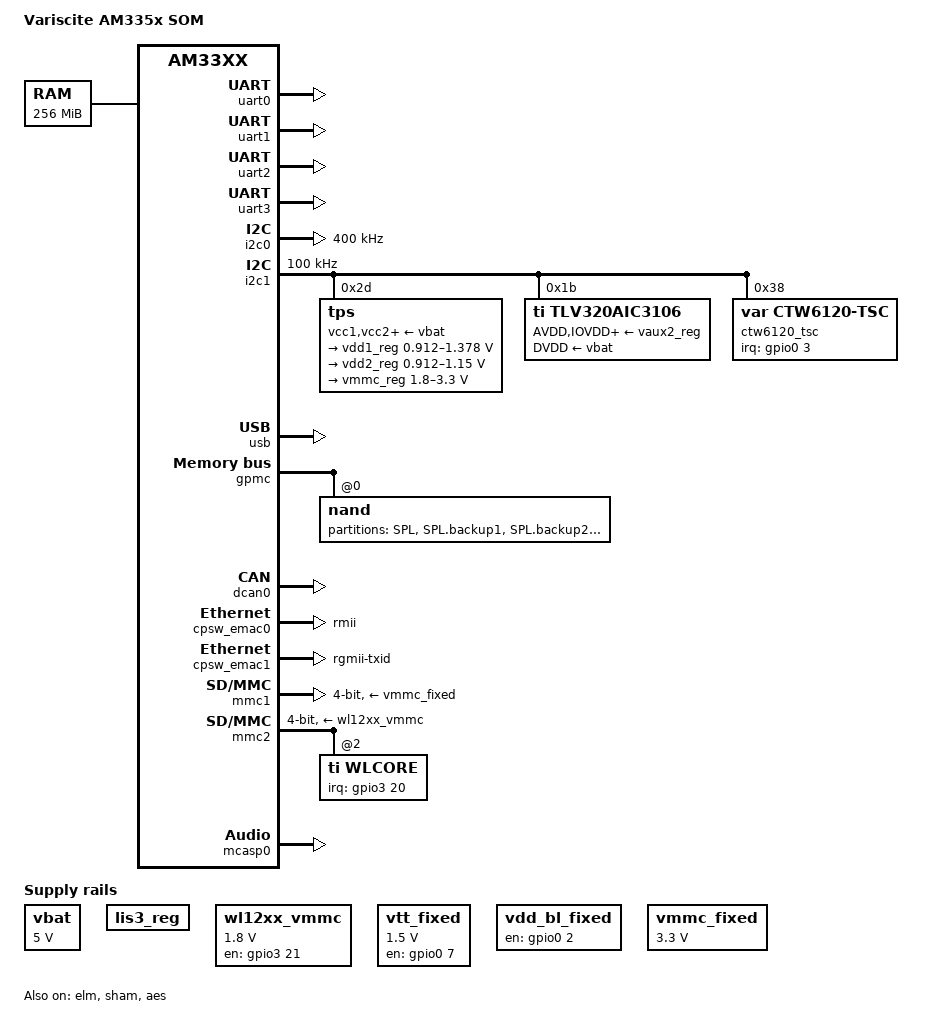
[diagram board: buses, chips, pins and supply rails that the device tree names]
/*
 * Copyright (C) 2014 Variscite LTD - http://www.variscite.com/
 *
 * This program is free software; you can redistribute it and/or modify
 * it under the terms of the GNU General Public License version 2 as
 * published by the Free Software Foundation.
 */
/dts-v1/;

#include "am33xx.dtsi"
#include <dt-bindings/pwm/pwm.h>
#include <dt-bindings/interrupt-controller/irq.h>

/ {
	model = "Variscite AM335x SOM";
	compatible = "ti,var-som-am33", "ti,am33xx";

	cpus {
		cpu@0 {
			cpu0-supply = <&vdd1_reg>;
		};
	};

	memory {
		device_type = "memory";
		reg = <0x80000000 0x10000000>; /* 256 MB */
	};

	vbat: fixedregulator@0 {
		compatible = "regulator-fixed";
		regulator-name = "vbat";
		regulator-min-microvolt = <5000000>;
		regulator-max-microvolt = <5000000>;
		regulator-boot-on;
	};

	lis3_reg: fixedregulator@1 {
		compatible = "regulator-fixed";
		regulator-name = "lis3_reg";
		regulator-boot-on;
	};

	wl12xx_vmmc: fixedregulator@2 {
		compatible = "regulator-fixed";
		regulator-name = "wlan-en-regulator";
		regulator-min-microvolt = <1800000>;
		regulator-max-microvolt = <1800000>;
		/* WLAN_EN GPIO for this board - Bank3, pin21 */
		gpio = <&gpio3 21 0>;

		/* WLAN card specific delay */
		startup-delay-us = <70000>;
		enable-active-high;
	};

	vtt_fixed: fixedregulator@3 {
		compatible = "regulator-fixed";
		regulator-name = "vtt";
		regulator-min-microvolt = <1500000>;
		regulator-max-microvolt = <1500000>;
		gpio = <&gpio0 7 GPIO_ACTIVE_HIGH>;
		regulator-always-on;
		regulator-boot-on;
		enable-active-high;
	};

	vdd_bl_fixed: fixedregulator@4 {	
		compatible = "regulator-fixed";
		regulator-name = "vdd_bl";
		//regulator-min-microvolt = <1500000>;
		//regulator-max-microvolt = <1500000>;
		gpio = <&gpio0 2 GPIO_ACTIVE_HIGH>;
		regulator-always-on;
		regulator-boot-on;
		enable-active-high;
	};

	vmmc_fixed: fixedregulator@5 {
		compatible = "regulator-fixed";
		regulator-name = "vmmc_fixed";
		regulator-min-microvolt = <3300000>;
		regulator-max-microvolt = <3300000>;
		regulator-always-on;
		regulator-boot-on;
	};


	gpio_buttons: gpio_keys@0 {
		compatible = "gpio-keys";
		#address-cells = <1>;
		#size-cells = <0>;

	};

	sound {
		compatible = "ti,da830-evm-audio";
		ti,model = "AM335x-EVM";
		ti,audio-codec = <&tlv320aic3106>;
		ti,mcasp-controller = <&mcasp0>;
		ti,codec-clock-rate = <24000000>;
		ti,audio-routing =
			"Headphone Jack",       "HPLOUT",
			"Headphone Jack",       "HPROUT",
			"LINE1L",               "Line In",
			"LINE1R",               "Line In";
	};	

	wlcore {
		compatible = "wlcore";
		gpio = <116>; /* Bank3, pin20 */
		pinctrl-names = "default";
	};

	kim {
		compatible = "kim";
		nshutdown_gpio = <105>; /* Bank3, pin21 */
		dev_name = "/dev/ttyO1";
		flow_cntrl = <1>;
		baud_rate = <3000000>;
	};

	btwilink {
		compatible = "btwilink";
	};

	ge_counter0 {
		compatible = "ginzinger,ge_counter";

		in1 {
				label = "in1";
				gpios = <&gpio1 20 GPIO_ACTIVE_HIGH>;
				irq-type = <IRQ_TYPE_EDGE_RISING>;
				interval = <0>; //ms
		};

		in2 {
				label = "in2";
				gpios = <&gpio1 18 GPIO_ACTIVE_HIGH>;
				irq-type = <IRQ_TYPE_EDGE_RISING>;
				interval = <0>; //ms
		};

		in3 {
				label = "in3";
				gpios = <&gpio1 16 GPIO_ACTIVE_HIGH>;
				irq-type = <IRQ_TYPE_EDGE_RISING>;
				interval = <0>; //ms
		};

		in4 {
				label = "in4";
				gpios = <&gpio1 22 GPIO_ACTIVE_HIGH>;
				irq-type = <IRQ_TYPE_EDGE_RISING>;
				interval = <0>; //ms
		};

		in5 {
				label = "in5";
				gpios = <&gpio1 24 GPIO_ACTIVE_HIGH>;
				irq-type = <IRQ_TYPE_EDGE_RISING>;
				interval = <0>; //ms
		};

		in6 {
				label = "in6";
				gpios = <&gpio1 26 GPIO_ACTIVE_HIGH>;
				irq-type = <IRQ_TYPE_EDGE_RISING>;
				interval = <0>; //ms
		};

		in7 {
				label = "in7";
				gpios = <&gpio1 23 GPIO_ACTIVE_HIGH>;
				irq-type = <IRQ_TYPE_EDGE_RISING>;
				interval = <0>; //ms
		};

		in8 {
				label = "in8";
				gpios = <&gpio1 21 GPIO_ACTIVE_HIGH>;
				irq-type = <IRQ_TYPE_EDGE_RISING>;
				interval = <0>; //ms
		};
	};
					

};

&am33xx_pinmux {
	pinctrl-names = "default";
	pinctrl-0 = <&clkout1_pin &gpio_keys_s0>;

	i2c0_pins: pinmux_i2c0_pins {
		pinctrl-single,pins = <
			0x188 (PIN_INPUT_PULLUP | MUX_MODE0)	/* i2c0_sda.i2c0_sda */
			0x18c (PIN_INPUT_PULLUP | MUX_MODE0)	/* i2c0_scl.i2c0_scl */
		>;
	};

	i2c1_pins: pinmux_i2c1_pins {
		pinctrl-single,pins = <
			0x158 (PIN_INPUT_PULLUP | MUX_MODE2)	/* spi0_d1.i2c1_sda */
			0x15c (PIN_INPUT_PULLUP | MUX_MODE2)	/* spi0_cs0.i2c1_scl */
		>;
	};

	uart0_pins: pinmux_uart0_pins {
		pinctrl-single,pins = <
			0x170 (PIN_INPUT_PULLUP | MUX_MODE0)	/* uart0_rxd.uart0_rxd */
			0x174 (PIN_OUTPUT_PULLDOWN | MUX_MODE0)		/* uart0_txd.uart0_txd */
		>;
	};

	uart1_pins_default: pinmux_uart1_pins_default {
		pinctrl-single,pins = <
/*			0x178 (PIN_INPUT | MUX_MODE0)			/* uart1_ctsn.uart1_ctsn */
	/*		0x17C (PIN_OUTPUT_PULLDOWN | MUX_MODE0)	/* uart1_rtsn.uart1_rtsn */
			0x180 (PIN_INPUT_PULLUP | MUX_MODE0)	/* uart1_rxd.uart1_rxd */
			0x184 (PIN_OUTPUT | MUX_MODE0)			/* uart1_txd.uart1_txd */
		>;
	};

	uart1_pins_sleep: pinmux_uart1_pins_sleep {
		pinctrl-single,pins = <
/*			0x178 (PIN_INPUT_PULLDOWN | MUX_MODE7)*/
			0x17C (PIN_INPUT_PULLDOWN | MUX_MODE7)
			0x180 (PIN_INPUT_PULLDOWN | MUX_MODE7)
			0x184 (PIN_INPUT_PULLDOWN | MUX_MODE7)
		>;
	};


	rs485_pins_default: rs485_pins_default {
		pinctrl-single,pins = <
				0x160 (PIN_INPUT_PULLUP | MUX_MODE1) /* (C15) spi0_cs1.uart3_rxd */
				0x164 (PIN_OUTPUT | MUX_MODE1) /* (C18) eCAP0_in_PWM0_out.uart3_txd */
			>;
		};

		clkout1_pin: pinmux_clkout1_pin {
			pinctrl-single,pins = <
				0x1b0 (PIN_OUTPUT_PULLDOWN | MUX_MODE3)	/* xdma_event_intr0.clkout1 */
			>;
		};

		nandflash_pins_default: pinmux_nandflash_pins_default {
			pinctrl-single,pins = <
				0x0 (PIN_INPUT_PULLUP | MUX_MODE0)	/* gpmc_ad0.gpmc_ad0 */
				0x4 (PIN_INPUT_PULLUP | MUX_MODE0)	/* gpmc_ad1.gpmc_ad1 */
				0x8 (PIN_INPUT_PULLUP | MUX_MODE0)	/* gpmc_ad2.gpmc_ad2 */
				0xc (PIN_INPUT_PULLUP | MUX_MODE0)	/* gpmc_ad3.gpmc_ad3 */
				0x10 (PIN_INPUT_PULLUP | MUX_MODE0)	/* gpmc_ad4.gpmc_ad4 */
				0x14 (PIN_INPUT_PULLUP | MUX_MODE0)	/* gpmc_ad5.gpmc_ad5 */
				0x18 (PIN_INPUT_PULLUP | MUX_MODE0)	/* gpmc_ad6.gpmc_ad6 */
				0x1c (PIN_INPUT_PULLUP | MUX_MODE0)	/* gpmc_ad7.gpmc_ad7 */
				0x70 (PIN_INPUT_PULLUP | MUX_MODE0)	/* gpmc_wait0.gpmc_wait0 */
				0x74 (PIN_INPUT_PULLUP | MUX_MODE7)	/* gpmc_wpn.gpio0_30 */
				0x7c (PIN_OUTPUT | MUX_MODE0)		/* gpmc_csn0.gpmc_csn0  */
				0x90 (PIN_OUTPUT | MUX_MODE0)		/* gpmc_advn_ale.gpmc_advn_ale */
				0x94 (PIN_OUTPUT | MUX_MODE0)		/* gpmc_oen_ren.gpmc_oen_ren */
				0x98 (PIN_OUTPUT | MUX_MODE0)		/* gpmc_wen.gpmc_wen */
				0x9c (PIN_OUTPUT | MUX_MODE0)		/* gpmc_ben0_cle.gpmc_ben0_cle */
			>;
		};

		nandflash_pins_sleep: pinmux_nandflash_pins_sleep {
			pinctrl-single,pins = <
				0x0 (PIN_INPUT_PULLDOWN | MUX_MODE7)
				0x4 (PIN_INPUT_PULLDOWN | MUX_MODE7)
				0x8 (PIN_INPUT_PULLDOWN | MUX_MODE7)
				0xc (PIN_INPUT_PULLDOWN | MUX_MODE7)
				0x10 (PIN_INPUT_PULLDOWN | MUX_MODE7)
				0x14 (PIN_INPUT_PULLDOWN | MUX_MODE7)
				0x18 (PIN_INPUT_PULLDOWN | MUX_MODE7)
				0x1c (PIN_INPUT_PULLDOWN | MUX_MODE7)
				0x70 (PIN_INPUT_PULLDOWN | MUX_MODE7)
				0x74 (PIN_INPUT_PULLDOWN | MUX_MODE7)
				0x7c (PIN_INPUT_PULLDOWN | MUX_MODE7)
				0x90 (PIN_INPUT_PULLDOWN | MUX_MODE7)
				0x94 (PIN_INPUT_PULLDOWN | MUX_MODE7)
				0x98 (PIN_INPUT_PULLDOWN | MUX_MODE7)
				0x9c (PIN_INPUT_PULLDOWN | MUX_MODE7)
			>;
		};

		cpsw_default: cpsw_default {
			pinctrl-single,pins = <
				/* Slave 1 */
			0x10c (PIN_INPUT_PULLDOWN | MUX_MODE1)     /* mii1_crs.rmii1_crs_dv */
			0x110 (PIN_INPUT_PULLDOWN | MUX_MODE1)     /* mii1_rxerr.rmii1_rxerr */
			0x114 (PIN_OUTPUT | MUX_MODE1)             /* mii1_txen.rmii1_txen */
			0x124 (PIN_OUTPUT | MUX_MODE1)             /* mii1_txd1.rmii1_txd1 */
			0x128 (PIN_OUTPUT | MUX_MODE1)             /* mii1_txd0.rmii1_txd0 */
			0x13c (PIN_INPUT_PULLDOWN | MUX_MODE1)     /* mii1_rxd1.rmii1_rxd1 */
			0x140 (PIN_INPUT_PULLDOWN | MUX_MODE1)     /* mii1_rxd0.rmii1_rxd0 */
			0x144 (PIN_INPUT_PULLDOWN | MUX_MODE0)     /* rmii1_refclk.rmii1_refclk */
			0x138 (PIN_INPUT_PULLUP | MUX_MODE7)       /* mii1_rxd2.gpio2_19 */
			>;
		};

		cpsw_sleep: cpsw_sleep {
			pinctrl-single,pins = <
			/* Slave 1 reset value */
			0x10c (PIN_INPUT_PULLDOWN | MUX_MODE7)
			0x110 (PIN_INPUT_PULLDOWN | MUX_MODE7)
			0x114 (PIN_INPUT_PULLDOWN | MUX_MODE7)
			0x124 (PIN_INPUT_PULLDOWN | MUX_MODE7)
			0x128 (PIN_INPUT_PULLDOWN | MUX_MODE7)
			0x13c (PIN_INPUT_PULLDOWN | MUX_MODE7)
			0x140 (PIN_INPUT_PULLDOWN | MUX_MODE7)
			0x144 (PIN_INPUT_PULLDOWN | MUX_MODE7)
			0x138 (PIN_INPUT_PULLUP | MUX_MODE7)       /* mii1_rxd2.gpio2_19 */
			>;
		};

		davinci_mdio_default: davinci_mdio_default {
			pinctrl-single,pins = <
				/* MDIO */
				0x148 (PIN_INPUT_PULLUP | SLEWCTRL_FAST | MUX_MODE0)	/* mdio_data.mdio_data */
				0x14c (PIN_OUTPUT_PULLUP | MUX_MODE0)			/* mdio_clk.mdio_clk */
			>;
		};

		davinci_mdio_sleep: davinci_mdio_sleep {
			pinctrl-single,pins = <
				/* MDIO reset value */
				0x148 (PIN_INPUT_PULLDOWN | MUX_MODE7)
				0x14c (PIN_INPUT_PULLDOWN | MUX_MODE7)
			>;
		};

		mmc1_pins_default: pinmux_mmc1_pins {
			pinctrl-single,pins = <
				0x0F0 (PIN_INPUT_PULLUP | MUX_MODE0)	/* mmc0_dat3.mmc0_dat3 */
				0x0F4 (PIN_INPUT_PULLUP | MUX_MODE0)	/* mmc0_dat2.mmc0_dat2 */
				0x0F8 (PIN_INPUT_PULLUP | MUX_MODE0)	/* mmc0_dat1.mmc0_dat1 */
				0x0FC (PIN_INPUT_PULLUP | MUX_MODE0)	/* mmc0_dat0.mmc0_dat0 */
				0x100 (PIN_INPUT_PULLUP | MUX_MODE0)	/* mmc0_clk.mmc0_clk */
				0x104 (PIN_INPUT_PULLUP | MUX_MODE0)	/* mmc0_cmd.mmc0_cmd */
				0x78  (PIN_INPUT_PULLUP | MUX_MODE7)	/* gpmc_ben1.gpio1_28 */
			/*	0x134 (PIN_INPUT_PULLUP | MUX_MODE7)*/	/* mii1_rxd3.gpio2_18 */
			>;
		};

		mmc1_pins_sleep: pinmux_mmc1_pins_sleep {
			pinctrl-single,pins = <
				0x0F0 (PIN_INPUT_PULLDOWN | MUX_MODE7)
				0x0F4 (PIN_INPUT_PULLDOWN | MUX_MODE7)
				0x0F8 (PIN_INPUT_PULLDOWN | MUX_MODE7)
				0x0FC (PIN_INPUT_PULLDOWN | MUX_MODE7)
				0x100 (PIN_INPUT_PULLDOWN | MUX_MODE7)
				0x104 (PIN_INPUT_PULLDOWN | MUX_MODE7)
				0x78  (PIN_INPUT_PULLDOWN | MUX_MODE7)
			/*	0x134 (PIN_INPUT_PULLDOWN | MUX_MODE7)*/
			>;
		};

		/* wl12xx/wl18xx card enable/irq GPIOs. */
		wlan_pins_default: pinmux_wlan_pins {
			pinctrl-single,pins = <
				0x1AC 0x07	/* mcasp0_ahclkx.gpio3_21, OUTPUT | MODE7 */
				0x1A8 0x27	/* mcasp0_axr1.gpio3_20, INPUT | MODE7 */
				0x12C 0x17	/* mii1_txclk.gpio3_9, OUTPUT_PULLUP | MODE7 */
			>;
		};

		mcasp0_pins: mcasp0_pins {
			pinctrl-single,pins = <
				0x190 (PIN_INPUT_PULLDOWN | MUX_MODE0)  /* mcasp0_aclkx.mcasp0_aclkx */
				0x194 (PIN_INPUT_PULLDOWN | MUX_MODE0)  /* mcasp0_fsx.mcasp0_fsx */
				0x1A0 (PIN_INPUT_PULLDOWN | MUX_MODE2)  /* mcasp0_aclkr.mcasp0_axr2 */
				0x1A4 (PIN_INPUT_PULLDOWN | MUX_MODE2)  /* mcasp0_fsr.mcasp0_axr3 */
			>;
		};

		mcasp0_sleep_pins: mcasp0_sleep_pins {
			pinctrl-single,pins = <
				0x190 (PIN_INPUT_PULLDOWN | MUX_MODE7)
				0x194 (PIN_INPUT_PULLDOWN | MUX_MODE7)
				0x1A0 (PIN_INPUT_PULLDOWN | MUX_MODE7)
				0x1A4 (PIN_INPUT_PULLDOWN | MUX_MODE7)
			>;
		};
		/* wl12xx/wl18xx card on mmc1 */

		mmc2_pins_default: pinmux_mmc2_pins_default {
			pinctrl-single,pins = <
				0x20 (PIN_INPUT_PULLUP | MUX_MODE2)	/* gpmc_ad8.mmc1_dat0 */
				0x24 (PIN_INPUT_PULLUP | MUX_MODE2)	/* gpmc_ad9.mmc1_dat1 */
				0x28 (PIN_INPUT_PULLUP | MUX_MODE2)	/* gpmc_ad10.mmc1_dat2 */
				0x2c (PIN_INPUT_PULLUP | MUX_MODE2)	/* gpmc_ad11.mmc1_dat3 */
				0x84 (PIN_INPUT_PULLUP | MUX_MODE2)	/* gpmc_csn2.mmc1_cmd */
				0x80 (PIN_INPUT_PULLUP | MUX_MODE2)	/* gpmc_csn1.mmc1_clk */
			>;
		};
		
		mmc2_pins_sleep: pinmux_mmc2_pins_sleep {
			pinctrl-single,pins = <
				0x20 (PIN_INPUT_PULLUP | MUX_MODE7)	/* gpmc_ad8.mmc1_dat0 */
				0x24 (PIN_INPUT_PULLUP | MUX_MODE7)	/* gpmc_ad9.mmc1_dat1 */
				0x28 (PIN_INPUT_PULLUP | MUX_MODE7)	/* gpmc_ad10.mmc1_dat2 */
				0x2c (PIN_INPUT_PULLUP | MUX_MODE7)	/* gpmc_ad11.mmc1_dat3 */
				0x84 (PIN_INPUT_PULLUP | MUX_MODE7)	/* gpmc_csn2.mmc1_cmd */
				0x80 (PIN_INPUT_PULLUP | MUX_MODE7)	/* gpmc_csn1.mmc1_clk */
			>;
		};	

			/* wl12xx/wl18xx card enable/irq GPIOs. */
		wl12xx_gpio_default: pinmux_wl12xx_gpio_default {
			pinctrl-single,pins = <
				0x1AC 0x07	/* mcasp0_ahclkx.gpio3_21, OUTPUT | MODE7 */
				0x1A8 0x27	/* mcasp0_axr1.gpio3_20, INPUT | MODE7 */
				0x12C 0x17	/* mii1_txclk.gpio3_9, OUTPUT_PULLUP | MODE7 */
			>;
		};

		wl12xx_gpio_sleep: pinmux_wl12xx_gpio_sleep {
			pinctrl-single,pins = <
				0x1AC (PIN_INPUT_PULLDOWN | MUX_MODE7)	/* mcasp0_ahclkx.gpio3_21, OUTPUT | MODE7 */
				0x1A8 (PIN_INPUT_PULLDOWN | MUX_MODE7)	/* mcasp0_axr1.gpio3_20, INPUT | MODE7 */
				0x12C (PIN_INPUT_PULLDOWN | MUX_MODE7)	/* mii1_txclk.gpio3_9, OUTPUT_PULLUP | MODE7 */
			>;
		};
		
		/* ctw6120 irq GPIO. */
		ctw6120_pins: pinmux_ctw6120_pins {
			pinctrl-single,pins = <
				0x154 0x27	/* spi0_d0.gpio0_3, INPUT | MODE7 */
			>;
		};
		dcan0_default: dcan0_default_pins {
			pinctrl-single,pins = <
				/*0x11c (PIN_OUTPUT_PULLDOWN | MUX_MODE1)	 /* AM33XX_CONTROL_PADCONF_MII1_TXD3_OFFSET			0x091C */
				0x120 (PIN_INPUT_PULLUP | MUX_MODE1)      /* AM33XX_CONTROL_PADCONF_MII1_TXD2_OFFSET			0x0920 */
			>;
		};

		spi1_pins_default: pinmux_spi1_pins_default {
			pinctrl-single,pins = <
			/*	0x164 (PIN_INPUT | MUX_MODE4)*/	/* ECAP0_IN_PWM0_OUT: SPI CLK */
				0x168 (PIN_INPUT | MUX_MODE4)	/* UART0_CTSN: SPI1_D0 - We set to SPI1_RX*/
				0x16C (PIN_OUTPUT | MUX_MODE4)	/* UART0_RTSN: SPI1_D1 - We set to SPI1_TX*/
				0x19C (PIN_OUTPUT | MUX_MODE3)	/* MCASP0_AHCLKR: SPI1_CS */
			>;
		};

		spi1_pins_sleep: pinmux_spi1_pins_sleep {
			pinctrl-single,pins = <
			/*	0x164 (PIN_INPUT_PULLDOWN | MUX_MODE7)*/	/* ECAP0_IN_PWM0_OUT: SPI CLK */
				0x168 (PIN_INPUT_PULLDOWN | MUX_MODE7)	/* UART0_CTSN: SPI1_D0 - We set to SPI1_TX*/
				0x16C (PIN_INPUT_PULLDOWN | MUX_MODE7)	/* UART0_RTSN: SPI1_D1 - We set to SPI1_RX*/
				0x19C (PIN_INPUT_PULLDOWN | MUX_MODE7)	/* MCASP0_AHCLKR: SPI1_CS */
			>;
		};
		

		gpio_keys_s0: gpio_keys_s0 {
		       pinctrl-single,pins = <
			       0x118 (PIN_INPUT_PULLUP | MUX_MODE7)    /* GPIO3_4 */
			       0x178  (PIN_INPUT | MUX_MODE7) /* FKEY GPIO0_12 */
                               0x198  (PIN_INPUT | MUX_MODE7) /* KNX_BUTTON GPIO0_17 */
			       0x11c ( PIN_OUTPUT | MUX_MODE7 ) /* KNX_LED (J18) gmii1_txd3.gpio0[16] */
                               0xec (PIN_OUTPUT | MUX_MODE7) /* LED 1 red */
                               0x4c (PIN_OUTPUT | MUX_MODE7) /* LED 1 green */
                               0x44 (PIN_OUTPUT | MUX_MODE7) /* LED 2 green */
                               0xe0 (PIN_OUTPUT | MUX_MODE7) /* LED 2 red */
                               0xe4 (PIN_OUTPUT | MUX_MODE7) /* LED 3 green */
                               0x88 (PIN_OUTPUT | MUX_MODE7) /* LED 3 red */
			       0x64 (PIN_OUTPUT | MUX_MODE7) /*gpmc_a9 out1 */
                               0x6c (PIN_OUTPUT | MUX_MODE7) /*gpmc_a11 out2 */
			       0x40 ( PIN_INPUT | MUX_MODE7 ) /* (R13) gpmc_a0.gpio1[16] */
	    		       0x48 ( PIN_INPUT | MUX_MODE7 ) /* (U14) gpmc_a2.gpio1[18] */
			       0x50 ( PIN_INPUT | MUX_MODE7 ) /* (R14) gpmc_a4.gpio1[20] */
			       0x54 ( PIN_INPUT | MUX_MODE7 ) /* (V15) gpmc_a5.gpio1[21] */
			       0x58 ( PIN_INPUT | MUX_MODE7 ) /* (U15) gpmc_a6.gpio1[22] */
			       0x5c ( PIN_INPUT | MUX_MODE7 ) /* (T15) gpmc_a7.gpio1[23] */
			       0x60 ( PIN_INPUT | MUX_MODE7 ) /* (V16) gpmc_a8.gpio1[24] */
			       0x68 ( PIN_INPUT | MUX_MODE7 ) /* (T16) gpmc_a10.gpio1[26] */
		       >;
		};

	};

	&uart0 {
		pinctrl-names = "default";
		pinctrl-0 = <&uart0_pins>;

		status = "okay";
	};

	&uart1 {
		pinctrl-names = "default", "sleep";
		pinctrl-0 = <&uart1_pins_default>;
		pinctrl-1 = <&uart1_pins_sleep>;

		status = "okay";
	};

	&uart2 {
	/*	
		pinctrl-names = "default", "sleep";
		pinctrl-0 = <&uart2_pins_default>;
		pinctrl-1 = <&uart2_pins_sleep>;
	*/	
		status = "okay";
	};

	&uart3 {
		
		pinctrl-names = "default";
		pinctrl-0 = <&rs485_pins_default>;
		rs485-rts-active-high;
		rts-gpio = <&gpio3 8 1>;
		rs485-rts-delay = <1 1>;
		linux,rs485-enabled-at-boot-time;
		
		status = "okay";
	};

	&uart4 {
	/*	
		pinctrl-names = "default", "sleep";
		pinctrl-0 = <&uart4_pins_default>;
		pinctrl-1 = <&uart4_pins_sleep>;
	*/	
	//	status = "okay";
	};

	&uart5 {
	/*	
		pinctrl-names = "default", "sleep";
		pinctrl-0 = <&uart5_pins_default>;
		pinctrl-1 = <&uart5_pins_sleep>;
	*/	
	//	status = "okay";
	};

	&i2c0 {
		pinctrl-names = "default";
		pinctrl-0 = <&i2c0_pins>;

	//	status = "okay";
		clock-frequency = <400000>;

	};


	&i2c1 {
		pinctrl-names = "default";
		pinctrl-0 = <&i2c1_pins>;

		status = "okay";
		clock-frequency = <100000>;

		tps: tps@2d {
			status = "okay";
			reg = <0x2d>;
		};

	#if 0 
		lis331dlh: lis331dlh@18 {
			compatible = "st,lis331dlh", "st,lis3lv02d";
			reg = <0x18>;
			Vdd-supply = <&lis3_reg>;
			Vdd_IO-supply = <&lis3_reg>;

			st,click-single-x;
			st,click-single-y;
			st,click-single-z;
			st,click-thresh-x = <10>;
			st,click-thresh-y = <10>;
			st,click-thresh-z = <10>;
			st,irq1-click;
			st,irq2-click;
			st,wakeup-x-lo;
			st,wakeup-x-hi;
			st,wakeup-y-lo;
			st,wakeup-y-hi;
			st,wakeup-z-lo;
			st,wakeup-z-hi;
			st,min-limit-x = <120>;
			st,min-limit-y = <120>;
			st,min-limit-z = <140>;
			st,max-limit-x = <550>;
			st,max-limit-y = <550>;
			st,max-limit-z = <750>;
		};
	#endif//0

		tlv320aic3106: tlv320aic3106@1b {
			compatible = "ti,tlv320aic3106";
			reg = <0x1b>;
			status = "okay";

			/* Regulators */
			AVDD-supply = <&vaux2_reg>;
			IOVDD-supply = <&vaux2_reg>;
			DRVDD-supply = <&vaux2_reg>;
			DVDD-supply = <&vbat>;
		};

		ctw6120_tsc@38 {
			compatible = "var,ctw6120-tsc";
			pinctrl-names = "default";
			pinctrl-0 = <&ctw6120_pins>;
			reg = <0x38>;
			interrupt-parent = <&gpio0>;
			interrupts = <3 IRQ_TYPE_NONE>;
			

			x-size = <800>;
			y-size = <480>;
		};
	};

	&usb {
		status = "okay";

		control@44e10620 {
			status = "okay";
		};

		usb-phy@47401300 {
			status = "okay";
		};

		usb@47401000 {
			status = "okay";
			dr_mode = "host";
		};

		dma-controller@47402000  {
			status = "okay";
		};

		usb-phy@47401b00 {
			status = "okay";
		};

		usb@47401800 {
			status = "okay";
			dr_mode = "host";
		};
	};

	&epwmss2 {
		status = "disabled";

		ecap2: ecap@48304100 {
			status = "okay";
	#if 0
			pinctrl-names = "default", "sleep";
			pinctrl-0 = <&ecap2_pins_default>;
			pinctrl-1 = <&ecap2_pins_sleep>;
	#endif
		};
	};

	&wkup_m3 {
		ti,needs-vtt-toggle;
		ti,vtt-gpio-pin = <7>;
		ti,scale-data-fw = "am335x-evm-scale-data.bin";
	};

	&elm {
		status = "okay";
	};

	&gpmc {
		status = "okay";
		pinctrl-names = "default", "sleep";
		pinctrl-0 = <&nandflash_pins_default>;
		pinctrl-1 = <&nandflash_pins_sleep>;
		ranges = <0 0 0x08000000 0x10000000>;	/* CS0: NAND */
		nand@0,0 {
			reg = <0 0 0>; /* CS0, offset 0 */
			nand-bus-width = <8>;
			gpmc,device-width = <1>;
			gpmc,sync-clk-ps = <0>;
			gpmc,cs-on-ns = <0>;
			gpmc,cs-rd-off-ns = <44>;
			gpmc,cs-wr-off-ns = <44>;
			gpmc,adv-on-ns = <6>;
			gpmc,adv-rd-off-ns = <34>;
			gpmc,adv-wr-off-ns = <44>;
			gpmc,we-on-ns = <0>;
			gpmc,we-off-ns = <40>;
			gpmc,oe-on-ns = <0>;
			gpmc,oe-off-ns = <54>;
			gpmc,access-ns = <64>;
			gpmc,rd-cycle-ns = <82>;
			gpmc,wr-cycle-ns = <82>;
			gpmc,wait-on-read = "true";
			gpmc,wait-on-write = "true";
			gpmc,bus-turnaround-ns = <0>;
			gpmc,cycle2cycle-delay-ns = <0>;
			gpmc,clk-activation-ns = <0>;
			gpmc,wait-monitoring-ns = <0>;
			gpmc,wr-access-ns = <40>;
			gpmc,wr-data-mux-bus-ns = <0>;
			ti,nand-ecc-opt= "bch8";
			ti,elm-id = <&elm>;
			/* MTD partition table */
			/* All SPL-* partitions are sized to minimal length
			 * which can be independently programmable. For
			 * NAND flash this is equal to size of erase-block */
			#address-cells = <1>;
			#size-cells = <1>;
			partition@0 {
				label = "SPL";
				reg = <0x00000000 0x000020000>;
			};
			partition@1 {
				label = "SPL.backup1";
				reg = <0x00020000 0x00020000>;
			};
			partition@2 {
				label = "SPL.backup2";
				reg = <0x00040000 0x00020000>;
			};
			partition@3 {
				label = "SPL.backup3";
				reg = <0x00060000 0x00020000>;
			};
			partition@4 {
				label = "U-boot-spl-os";
				reg = <0x00080000 0x00040000>;
			};
			partition@5 {
				label = "U-boot";
				reg = <0x000C0000 0x00100000>;
			};
			partition@6 {
				label = "U-boot-Env";
				reg = <0x001C0000 0x00020000>;
			};
			partition@7 {
				label = "U-boot-env.backup1";
				reg = <0x001E0000 0x00020000>;
			};
			partition@8 {
				label = "Kernel";
				reg = <0x00200000 0x00800000>;
			};
			partition@9 {
				label = "FileSystem";
				reg = <0x00A00000 0x3F600000>;
			};
		};
	};

	#include "tps65910.dtsi"

	&dcan0 {
		pinctrl-names = "default";
		pinctrl-0 = <&dcan0_default>;
		status = "okay";
	};


	&tps {
		vcc1-supply = <&vbat>;
		vcc2-supply = <&vbat>;
		vcc3-supply = <&vbat>;
		vcc4-supply = <&vbat>;
		vcc5-supply = <&vbat>;
		vcc6-supply = <&vbat>;
		vcc7-supply = <&vbat>;
		vccio-supply = <&vbat>;

		rtc:0 {
			compatible = "ti,tps65910-rtc";
			interrupts = <0>;
		};

		regulators {
			vrtc_reg: regulator@0 {
				regulator-always-on;
			};

			vio_reg: regulator@1 {
				regulator-always-on;
			};

			vdd1_reg: regulator@2 {
				/* VDD_MPU voltage limits 0.95V - 1.325V with +/-4% tolerance */
				regulator-name = "vdd_mpu";
				regulator-min-microvolt = <912500>;
				regulator-max-microvolt = <1378000>;
				regulator-boot-on;
				regulator-always-on;
			};

			vdd2_reg: regulator@3 {
				/* VDD_CORE voltage limits 0.95V - 1.1V with +/-4% tolerance */
				regulator-name = "vdd_core";
				regulator-min-microvolt = <912500>;
				regulator-max-microvolt = <1150000>;
				regulator-boot-on;
				regulator-always-on;
			};

			vdd3_reg: regulator@4 {
				regulator-always-on;
			};

			vdig1_reg: regulator@5 {
				regulator-always-on;
			};

			vdig2_reg: regulator@6 {
				regulator-always-on;
			};

			vpll_reg: regulator@7 {
				regulator-always-on;
			};

			vdac_reg: regulator@8 {
				regulator-always-on;
			};

			vaux1_reg: regulator@9 {
				regulator-always-on;
			};

			vaux2_reg: regulator@10 {
				regulator-always-on;
			};

			vaux33_reg: regulator@11 {
				regulator-always-on;
			};

			vmmc_reg: regulator@12 {
				regulator-min-microvolt = <1800000>;
				regulator-max-microvolt = <3300000>;
				regulator-always-on;
			};
		};
	};

	&mac {
		pinctrl-names = "default", "sleep";
		pinctrl-0 = <&cpsw_default>;
		pinctrl-1 = <&cpsw_sleep>;
		dual_emac = <1>;
	};

	&davinci_mdio {
		pinctrl-names = "default", "sleep";
		pinctrl-0 = <&davinci_mdio_default>;
		pinctrl-1 = <&davinci_mdio_sleep>;
	};

	&cpsw_emac0 {
		phy_id = <&davinci_mdio>, <0>;
		phy-mode = "rmii";
		dual_emac_res_vlan = <1>;
	};

&cpsw_emac1 {
	phy_id = <&davinci_mdio>, <7>;
	phy-mode = "rgmii-txid";
	dual_emac_res_vlan = <2>;
};


&phy_sel {
	rmii-clock-ext;
};

&mmc1 {
	status = "okay";
	vmmc-supply = <&vmmc_fixed>;
	bus-width = <4>;
	pinctrl-names = "default", "sleep";
	pinctrl-0 = <&mmc1_pins_default>;
	pinctrl-1 = <&mmc1_pins_sleep>;
	//cd-gpios = <&gpio1 28 GPIO_ACTIVE_HIGH>;
	cd-inverted;
//	wp-gpios = <&gpio2 18 GPIO_ACTIVE_HIGH>;
};

&sham {
	status = "okay";
};

&aes {
	status = "okay";
};


&gpio0 {
	ti,no-reset-on-init;
};

&mmc2 {
	status = "okay";
	vmmc-supply = <&wl12xx_vmmc>;
	bus-width = <4>;
	pinctrl-names = "default", "sleep";
	pinctrl-0 = <&mmc2_pins_default &wl12xx_gpio_default>;
	pinctrl-1 = <&mmc2_pins_sleep &wl12xx_gpio_sleep>;
	ti,non-removable;
	ti,needs-special-hs-handling;
	cap-power-off-card;
	keep-power-in-suspend;

	#address-cells = <1>;
	#size-cells = <0>;
	wlcore: wlcore@0 {
		compatible = "ti,wlcore";
		reg = <2>;
		interrupt-parent = <&gpio3>;
		interrupts = <20 IRQ_TYPE_NONE>;

		/* if a 12xx card is there, configure the clock to
		   WL12XX_REFCLOCK_38_XTAL */
		board-ref-clock = <4>;
		status = "okay";
	};

};

&edma {
	ti,edma-xbar-event-map = /bits/ 16 <1 12
					    2 13>;
};

&mcasp0 {
	pinctrl-names = "default", "sleep";
	pinctrl-0 = <&mcasp0_pins>;
	pinctrl-1 = <&mcasp0_sleep_pins>;

	status = "okay";

	op-mode = <0>;          /* MCASP_IIS_MODE */
	tdm-slots = <2>;
	/* 16 serializer */
	serial-dir = <  /* 0: INACTIVE, 1: TX, 2: RX */
		0 0 2 1
	>;
	tx-num-evt = <32>;
	rx-num-evt = <32>;
};

&tscadc {
	adc {
		ti,adc-channels = <0 1 2 3 4 5 6 7>;
	};
};

